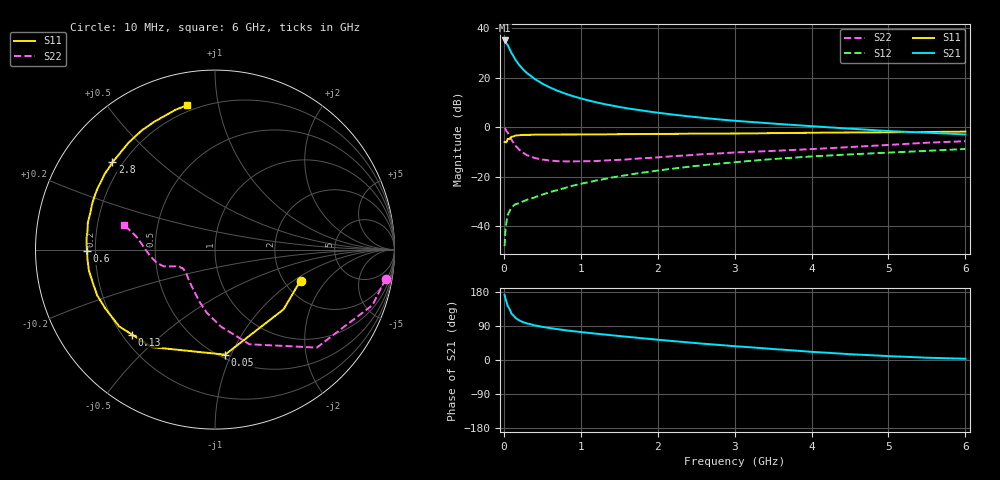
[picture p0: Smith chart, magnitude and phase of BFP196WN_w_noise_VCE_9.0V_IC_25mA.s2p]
! Infineon Technologies  Discrete & RF Semiconductors
! BFP196WN
! VCE =  9.0 V,  IC =  25 mA
! Common Emitter S-Parameters:  Jan 2017
# GHz  S  MA  R  50
!  f  S11  S21  S12  S22
! GHz  MAG  ANG  MAG  ANG  MAG  ANG  MAG  ANG
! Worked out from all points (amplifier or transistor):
!   77 points, 10 MHz to 6 GHz, reference 50 ohm
!   highest |S21| = 35.1 dB at 10 MHz (marker M1)
!   |S21| within 3 dB of that: start of sweep to 67.74 MHz
!   unconditionally stable (mu >= 1): 857.3 MHz to 2.66 GHz
!   at 130 MHz: K = 0.35, MSG = 30.0 dB, |S12| = -31.5 dB
!   at 2.2 GHz: K = 1.03, MAG = 9.9 dB, |S12| = -16.7 dB
!   at 6 GHz: K = 0.88, MSG = 2.9 dB, |S12| = -8.7 dB
!   lowest NFmin = 1.00 dB at 450 MHz
!   S11 on the Smith chart (normalised r, x): 10 MHz: 2.45, -1.14; 50 MHz: 0.53, -0.95; 130 MHz: 0.24, -0.40; 600 MHz: 0.17, -0.01; 2.8 GHz: 0.16, +0.36; 6 GHz: 0.17, +0.81
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0.01  0.5067 -19.9  56.8 171.9  0.004 80.5  0.9647 -9.7
0.02  0.5067 -41.0  53.75 162.8  0.0081 74.0  0.9306 -19.4
0.05  0.588 -84.5  45.74 142.3  0.017 58.3  0.7873 -43.9
0.1  0.6473 -122.9  31.61 122.0  0.0243 45.8  0.5614 -70.0
0.13  0.6613 -134.2  26.52 116.3  0.0266 43.5  0.4771 -78.5
0.15  0.6843 -141.3  23.33 111.2  0.0281 42.1  0.4285 -85.9
0.2  0.6937 -151.8  18.15 104.5  0.0296 43.0  0.3544 -97.4
0.25  0.7041 -158.7  14.81 99.9  0.0321 43.9  0.308 -105.6
0.3  0.7049 -163.8  12.48 96.5  0.0344 45.2  0.2745 -112.5
0.4  0.7121 -170.6  9.499 91.3  0.0386 49.1  0.2416 -122.6
0.5  0.7126 -175.6  7.63 87.5  0.0439 52.2  0.2242 -130.3
0.6  0.7135 -179.3  6.382 84.2  0.0495 55.2  0.214 -136.1
0.7  0.7157 177.7  5.469 81.4  0.0544 57.0  0.2076 -140.0
0.8  0.7185 174.7  4.795 78.5  0.0603 59.5  0.2061 -142.9
1.1  0.7243 168.0  3.496 71.6  0.0782 62.1  0.2076 -149.4
1.5  0.729 160.5  2.583 63.3  0.103 63.2  0.2206 -154.5
2.1  0.7387 150.4  1.893 51.8  0.1407 62.0  0.2551 -158.5
2.8  0.7503 139.6  1.447 39.7  0.185 58.7  0.2979 -161.6
3.1  0.7535 135.1  1.325 35.1  0.2041 56.5  0.316 -164.6
4.1  0.7805 120.3  1.033 20.4  0.2639 49.3  0.3711 -176.4
5.1  0.7993 109.2  0.83 9.4  0.3146 41.9  0.4516 170.0
6  0.8194 101.0  0.72 3.3  0.366 35.8  0.5258 165.1
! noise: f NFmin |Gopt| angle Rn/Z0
0.45  1  0.43  174  0.05
0.9  1.15  0.51  182  0.05
1.9  2.08  0.68  210  0.13
2.4  2.83  0.69  217  0.23
